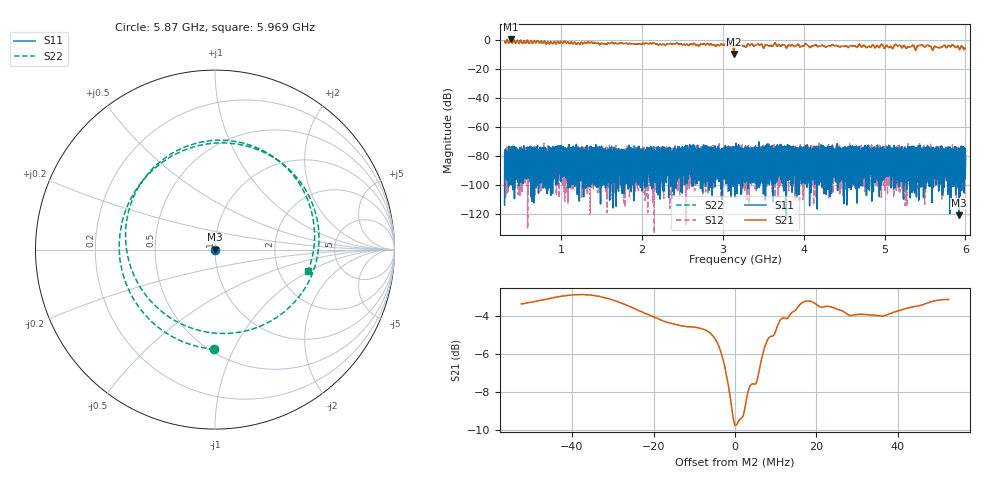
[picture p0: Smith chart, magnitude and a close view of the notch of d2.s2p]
!Agilent Technologies,N5230C,SG49000117,A.08.50.07
!Agilent N5230C: A.08.50.07
!Date: Monday, March 18, 2024 19:18:37
!Correction: S11(Off)
!S21(Off)
!S12(Off)
!S22(Off)
!S2P File: Measurements: S11, S21, S12, S22:
# Hz S  RI  R 50
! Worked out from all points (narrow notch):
!   20001 points, 300 MHz to 6 GHz, reference 50 ohm
!   highest |S21| = 0.45 dB at 373.8 MHz (marker M1); lowest = -9.8 dB at 3.135 GHz (marker M2)
!   notch at M2: 6.3 dB deep, 8.74 MHz wide at half that depth
!   lowest |S11| = -120.9 dB at 5.918 GHz (marker M3), VSWR 1.00, Z = 50 - j5.72e-05 ohm
!   |S11| at or under -10 dB: start of sweep to end of sweep
!   |S22| runs from -9.8 to 0.5 dB; largest |S21 - S12| = 1.1
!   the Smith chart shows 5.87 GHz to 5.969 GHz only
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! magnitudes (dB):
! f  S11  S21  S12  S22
! 300 MHz  -114.0  -0.9  -81.6  -0.9
! 373.8 MHz  -81.3  0.4  -88.3  0.5
! 1.25 GHz  -77.6  -1.7  -81.6  -1.7
! 2.2 GHz  -74.2  -3.6  -93.0  -3.6
! 3.082 GHz  -79.6  -3.4  -78.5  -3.4
! 3.135 GHz  -81.3  -9.8  -80.1  -9.8
! 3.15 GHz  -77.8  -3.5  -81.9  -3.5
! 3.174 GHz  -88.8  -3.8  -76.8  -3.7
! 3.269 GHz  -83.5  -4.4  -87.1  -4.3
! 3.335 GHz  -84.1  -4.1  -84.2  -4.0
! 3.975 GHz  -81.5  -4.2  -81.6  -4.1
! 4.032 GHz  -75.4  -2.8  -86.2  -2.7
! 4.1 GHz  -84.9  -4.2  -81.5  -4.1
! 5.05 GHz  -81.9  -5.4  -87.7  -5.4
! 5.155 GHz  -76.3  -4.0  -84.2  -3.9
! 5.39 GHz  -83.8  -6.7  -83.2  -6.7
! 5.449 GHz  -81.4  -3.5  -90.0  -3.5
! 5.547 GHz  -82.6  -4.1  -77.4  -4.2
! 5.587 GHz  -83.0  -6.5  -82.8  -6.6
! 5.839 GHz  -96.1  -3.5  -83.5  -3.5
! 5.918 GHz  -120.9  -5.7  -84.8  -5.7
! 6 GHz  -85.4  -5.5  -87.8  -5.6
